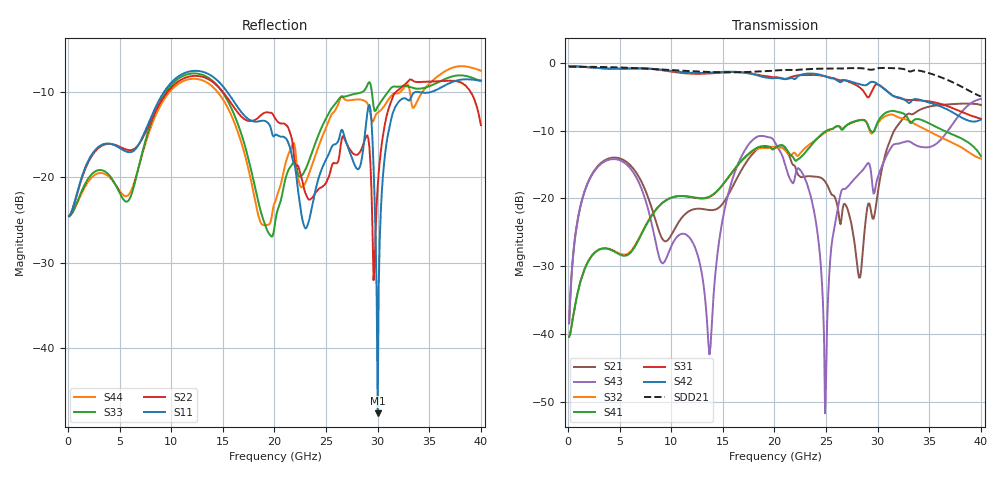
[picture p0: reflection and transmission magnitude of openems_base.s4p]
! BV_ts_m2_per0: ThunderScope M.2 PCIe RX lane 0 (PER0_P/N), pair via F.Cu → In3.Cu, pitch 0.53 mm
! stackup: Thunderscope_Rev5.3 from the board file and its kisi.json
! ports: 1 P in, 2 N in, 3 P out, 4 N out
! openEMS 0.37.0, staircase, base mesh (dfine 0.035 mm), 1029952 cells
# Hz S RI R 50
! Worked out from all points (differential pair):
!   400 points, 100 MHz to 40 GHz, reference 50 ohm
!   strongest paths, dB at 100 MHz, 10.1 GHz, 20.1 GHz, 30.1 GHz, 40 GHz:
!     S42: -0.5, -1.3, -2.3, -3.3, -8.4
!     S31: -0.5, -1.3, -2.1, -3.3, -8.3
!     S41: -40.4, -19.8, -12.5, -8.5, -13.8
!     S32: -40.4, -19.8, -12.5, -8.8, -14.1
!     S43: -38.4, -26.7, -11.9, -16.5, -5.3
!     S21: -38.4, -25.1, -12.4, -18.3, -6.3
!   taken as a pair (ports 2,1 in; 4,3 out), SDD21 dB: -0.6, -1.1, -1.2, -0.8, -5.0
!   lowest |S11| = -47.6 dB at 30 GHz (marker M1), VSWR 1.01, Z = 50.3 + j0.331 ohm
!   |S11| at or under -10 dB: start of sweep to 9.32 GHz; 15.4 GHz to 35.29 GHz (19.89 GHz wide, 78.5 % of centre)
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1e8  -0.0586 0.00866  0.00972 0.00746  0.9403 -0.038  0.0092 -0.00262
     0.00969 0.00716  -0.0589 0.00855  0.0092 -0.00272  0.94 -0.0376
     0.9403 -0.0379  0.00919 -0.00271  -0.0585 0.008  0.00971 0.00733
     0.00917 -0.00276  0.94 -0.0378  0.00971 0.00714  -0.0588 0.00791
7.8e9  0.1129 0.1738  0.0334 -0.0938  -0.8963 -0.1023  -0.0131 0.0669
       0.0333 -0.0938  0.118 0.1603  -0.0131 0.0674  -0.897 -0.1103
       -0.896 -0.1028  -0.0133 0.0679  -0.114 0.1494  0.0298 -0.0751
       -0.0131 0.0672  -0.8968 -0.1109  0.0298 -0.0753  -0.1202 0.1327
1.97e10  0.0913 -0.1637  0.2056 0.1106  0.1984 -0.7555  -0.2314 0.0139
         0.2058 0.1105  0.1437 -0.1896  -0.2382 -0.0088  0.2015 -0.7382
         0.199 -0.7561  -0.2395 -0.00927  -0.0449 0.00199  0.2677 -0.0782
         -0.2325 0.0136  0.2031 -0.7391  0.2677 -0.0784  -0.057 -0.00676
2.49e10  0.0521 0.1117  0.1017 -0.086  -0.7713 0.1853  0.1339 0.2795
         0.1017 -0.0862  0.0272 0.0867  0.1169 0.2801  -0.7724 0.1831
         -0.7712 0.1849  0.1174 0.2814  0.0109 0.2146  -0.000611 -0.00207
         0.1341 0.2803  -0.7724 0.1828  -0.000677 -0.00253  0.0156 0.1883
2.92e10  0.2636 0.0193  0.0886 -0.023  0.1492 0.5462  0.1571 -0.2845
         0.0886 -0.0232  0.1486 -0.00347  0.1652 -0.2692  0.2198 0.676
         0.1482 0.5455  0.1657 -0.2699  0.3591 0.0104  0.1707 -0.0536
         0.158 -0.2844  0.2198 0.6751  0.1708 -0.054  0.248 -0.0294
3e10  0.00255 0.00329  -0.093 0.0564  0.4098 0.5574  0.1431 -0.3345
      -0.0932 0.056  -0.00753 0.0879  0.1556 -0.3181  0.4679 0.5147
      0.4099 0.556  0.1553 -0.319  0.2581 -0.00518  0.1426 -0.00228
      0.1428 -0.3352  0.4679 0.5124  0.1425 -0.00295  0.238 -0.00569
4e10  0.3591 -0.0791  -0.4223 -0.2416  -0.3728 -0.0896  0.1971 -0.0523
      -0.4213 -0.2427  0.1345 -0.1498  0.1692 0.0971  -0.3357 -0.1744
      -0.3742 -0.0937  0.1695 0.0995  -0.2313 0.281  0.4164 0.3442
      0.1988 -0.05  -0.3376 -0.1774  0.4166 0.344  -0.2051 0.365
